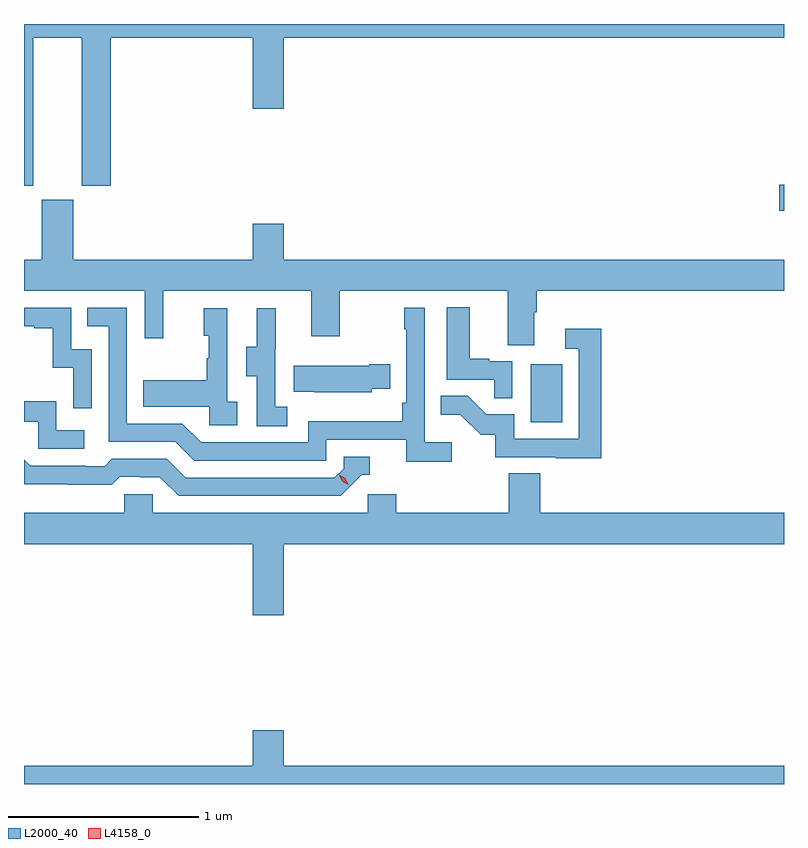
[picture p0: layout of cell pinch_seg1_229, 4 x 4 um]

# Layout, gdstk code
import gdstk
lib = gdstk.Library(unit=1e-6, precision=1e-09)
def R(c, l, rs):  # rectangles x0, y0, x1, y1
    for r in rs: c.add(gdstk.rectangle(r[:2], r[2:], *l))
def P(c, l, *ps):  # polygons
    for p in ps: c.add(gdstk.Polygon(p, *l))
L2000_40 = (2000, 40)
L4158_0 = (4158, 0)

pinch_seg1_229 = lib.new_cell('pinch_seg1_229')
R(pinch_seg1_229, L2000_40, [(969.668,576.348,969.832,576.655), (970.974,577.463,971,577.598)])
P(pinch_seg1_229, L2000_40, [(967.048,578.372),(967.304,578.372),(967.304,577.593),(967.457,577.593),(967.457,578.372),(968.204,578.372),(968.204,577.998),(968.368,577.998),(968.368,578.372),(971,578.372),(971,578.445),(967,578.445),(967,577.593),(967.048,577.593)],
  [(969.685,576.928),(969.698,576.928),(969.698,577.04),(971,577.04),(971,577.204),(968.368,577.204),(968.368,577.393),(968.204,577.393),(968.204,577.204),(967.258,577.204),(967.258,577.521),(967.094,577.521),(967.094,577.204),(967,577.204),(967,577.04),(967.635,577.04),(967.635,576.792),(967.733,576.792),(967.733,577.04),(968.513,577.04),(968.513,576.801),(968.661,576.801),(968.661,577.04),(969.545,577.04),(969.545,576.754),(969.685,576.754)],
  [(969.57,576.669),(969.449,576.669),(969.449,576.682),(969.346,576.682),(969.346,576.955),(969.224,576.955),(969.224,576.573),(969.475,576.573),(969.475,576.475),(969.57,576.475)],
  [(969.25,576.244),(969.108,576.244),(969.108,576.952),(969,576.952),(969,576.839),(969.012,576.839),(969.012,576.451),(968.992,576.451),(968.992,576.355),(968.496,576.355),(968.496,576.243),(967.932,576.243),(967.833,576.342),(967.542,576.342),(967.542,576.951),(967.333,576.951),(967.333,576.855),(967.446,576.855),(967.446,576.246),(967.796,576.246),(967.895,576.147),(968.592,576.147),(968.592,576.258),(969.011,576.258),(969.011,576.142),(969.25,576.142)],
  [(967.356,576.732),(967.248,576.732),(967.248,576.951),(967,576.951),(967,576.855),(967.055,576.855),(967.055,576.843),(967.151,576.843),(967.151,576.635),(967.26,576.635),(967.26,576.423),(967.356,576.423)],
  [(968.122,576.458),(968.07,576.458),(968.07,576.949),(967.946,576.949),(967.946,576.804),(967.972,576.804),(967.972,576.686),(967.962,576.686),(967.962,576.571),(967.627,576.571),(967.627,576.431),(967.974,576.431),(967.974,576.333),(968.122,576.333)],
  [(968.386,576.431),(968.322,576.431),(968.322,576.735),(968.324,576.735),(968.324,576.949),(968.225,576.949),(968.225,576.747),(968.171,576.747),(968.171,576.592),(968.226,576.592),(968.226,576.328),(968.386,576.328)],
  [(970.037,576.841),(969.849,576.841),(969.849,576.735),(969.921,576.735),(969.921,576.261),(969.579,576.261),(969.579,576.39),(969.434,576.39),(969.336,576.488),(969.193,576.488),(969.193,576.389),(969.297,576.389),(969.404,576.282),(969.481,576.282),(969.481,576.165),(969.799,576.165),(969.799,576.16),(970.037,576.16)],
  [(968.829,576.524),(968.927,576.524),(968.927,576.654),(968.816,576.654),(968.816,576.646),(968.419,576.646),(968.419,576.509),(968.527,576.509),(968.527,576.506),(968.829,576.506)],
  [(967.318,576.306),(967.17,576.306),(967.17,576.46),(967,576.46),(967,576.351),(967.074,576.351),(967.074,576.21),(967.318,576.21)],
  [(968.778,576.072),(968.821,576.072),(968.821,576.168),(968.682,576.168),(968.682,576.105),(968.634,576.057),(967.851,576.057),(967.752,576.156),(967.463,576.156),(967.424,576.117),(967.325,576.117),(967.325,576.12),(967.032,576.12),(967,576.152),(967,576.023),(967.23,576.023),(967.23,576.021),(967.463,576.021),(967.505,576.063),(967.608,576.063),(967.608,576.06),(967.715,576.06),(967.814,575.961),(968.667,575.961)],
  [(968.368,575.708),(971,575.708),(971,575.872),(969.716,575.872),(969.716,576.08),(969.551,576.08),(969.551,575.872),(968.96,575.872),(968.96,575.97),(968.808,575.97),(968.808,575.872),(967.677,575.872),(967.677,575.97),(967.527,575.97),(967.527,575.872),(967,575.872),(967,575.708),(968.204,575.708),(968.204,575.334),(968.368,575.334)],
  [(971,574.54),(968.368,574.54),(968.368,574.729),(968.204,574.729),(968.204,574.54),(967,574.54),(967,574.445),(971,574.445)])
P(pinch_seg1_229, L4158_0, [(968.706,576.019),(968.675,576.039),(968.659,576.073),(968.659,576.073),(968.66,576.073),(968.69,576.053),(968.706,576.02),(968.706,576.019)])

lib.write_gds('pinch_seg1_229.gds')
